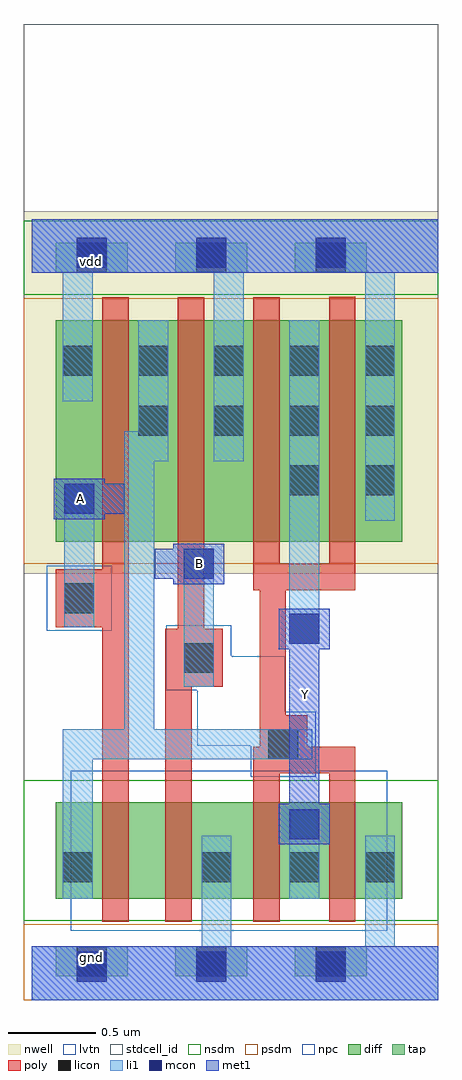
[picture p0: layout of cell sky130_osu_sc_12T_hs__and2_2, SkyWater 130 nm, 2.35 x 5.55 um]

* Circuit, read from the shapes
.subckt sky130_osu_sc_12T_hs__and2_2 A B Y gnd vdd
XM1 n1 A n2 gnd sky130_fd_pr__nfet_01v8_lvt w=0.55 l=0.15
XM2 gnd B n1 gnd sky130_fd_pr__nfet_01v8_lvt w=0.55 l=0.15
XM3 Y n2 gnd gnd sky130_fd_pr__nfet_01v8_lvt w=0.55 l=0.15 m=2
XM4 n2 A vdd vdd sky130_fd_pr__pfet_01v8 w=1.26 l=0.15
XM5 vdd B n2 vdd sky130_fd_pr__pfet_01v8 w=1.26 l=0.15
XM6 Y n2 vdd vdd sky130_fd_pr__pfet_01v8 w=1.26 l=0.15 m=2
.ends

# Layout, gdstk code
import gdstk
lib = gdstk.Library(unit=1e-6, precision=1e-09)
def R(c, l, rs):  # rectangles x0, y0, x1, y1
    for r in rs: c.add(gdstk.rectangle(r[:2], r[2:], *l))
def A(c, l, x, y, w, h, nx, ny, dx, dy):  # array of equal rectangles
    R(c, l, [(x+i*dx, y+j*dy, x+i*dx+w, y+j*dy+h) for i in range(nx) for j in range(ny)])
nwell = (64, 20)
diff = (65, 20)
tap = (65, 44)
poly = (66, 20)
licon = (66, 44)
li1 = (67, 20)
mcon = (67, 44)
met1 = (68, 20)
stdcell_id = (81, 4)
nsdm = (93, 44)
psdm = (94, 20)
npc = (95, 20)
lvtn = (125, 44)

sky130_osu_sc_12t_hs__an = lib.new_cell('sky130_osu_sc_12T_hs__and2_2')
R(sky130_osu_sc_12t_hs__an, nwell, [(-0.045,2.425,2.31,4.485)])
R(sky130_osu_sc_12t_hs__an, diff, [(0.135,0.575,2.105,1.125), (0.135,2.605,2.105,3.865)])
A(sky130_osu_sc_12t_hs__an, tap, 0.135, 0.135, 0.41, 0.17, 3, 2, 0.68, 4)
R(sky130_osu_sc_12t_hs__an, poly, [(0.4,0.445,0.55,2.12), (0.76,0.445,0.91,1.78), (1.26,0.445,1.41,1.29), (1.69,0.445,1.84,1.29), (1.26,1.29,1.84,1.44), (1.295,1.44,1.565,1.62), (1.295,1.62,1.445,2.33), (0.76,1.78,1.085,2.11), (0.83,2.11,0.98,3.995), (0.135,2.12,0.55,2.45), (1.26,2.33,1.84,2.48), (0.4,2.45,0.55,3.995), (1.26,2.48,1.41,3.995), (1.69,2.48,1.84,4)])
A(sky130_osu_sc_12t_hs__an, licon, 0.255, 0.135, 0.17, 0.17, 3, 2, 0.68, 4)
A(sky130_osu_sc_12t_hs__an, licon, 0.605, 3.21, 0.17, 0.17, 4, 1, 0.43, 0)
A(sky130_osu_sc_12t_hs__an, licon, 0.175, 3.55, 0.17, 0.17, 5, 1, 0.43, 0)
R(sky130_osu_sc_12t_hs__an, licon, [(0.175,0.67,0.345,0.84), (0.965,0.67,1.135,0.84), (1.465,0.67,1.635,0.84), (1.895,0.67,2.065,0.84), (1.345,1.37,1.515,1.54), (0.865,1.86,1.035,2.03), (0.185,2.2,0.355,2.37), (1.465,2.87,1.635,3.04), (1.895,2.87,2.065,3.04)])
R(sky130_osu_sc_12t_hs__an, li1, [(0,0,2.31,0.305), (0.965,0.305,1.135,0.935), (1.895,0.305,2.065,0.935), (0.175,0.575,0.345,1.37), (1.465,0.575,1.635,1.085), (0.175,1.37,1.595,1.54), (0.525,1.54,0.695,3.065), (0.865,1.78,1.035,2.565), (1.465,2.025,1.635,3.865), (0.185,2.12,0.355,2.935), (1.895,2.725,2.065,4.135), (0.525,3.065,0.775,3.235), (1.035,3.065,1.205,4.135), (0.605,3.235,0.775,3.865), (0.175,3.405,0.345,4.135), (0,4.135,2.31,4.44)])
A(sky130_osu_sc_12t_hs__an, mcon, 0.255, 0.105, 0.17, 0.17, 3, 2, 0.68, 4.06)
R(sky130_osu_sc_12t_hs__an, mcon, [(1.465,0.915,1.635,1.085), (1.465,2.025,1.635,2.195), (0.865,2.395,1.035,2.565), (0.185,2.765,0.355,2.935)])
R(sky130_osu_sc_12t_hs__an, met1, [(0,0,2.31,0.305), (1.405,0.885,1.695,1.115), (1.465,1.115,1.635,1.995), (1.405,1.995,1.695,2.225), (0.805,2.365,1.095,2.395), (0.7,2.395,1.095,2.565), (0.805,2.565,1.095,2.595), (0.125,2.735,0.415,2.765), (0.125,2.765,0.525,2.935), (0.125,2.935,0.415,2.965), (0,4.135,2.31,4.44)])
R(sky130_osu_sc_12t_hs__an, stdcell_id, [(-0.045,0,2.31,5.55)])
R(sky130_osu_sc_12t_hs__an, nsdm, [(-0.045,0.45,2.31,1.25), (-0.045,4.01,2.31,4.43)])
R(sky130_osu_sc_12t_hs__an, psdm, [(-0.045,0,2.31,0.43), (-0.045,2.48,2.31,3.99)])
R(sky130_osu_sc_12t_hs__an, npc, [(1.245,1.27,1.615,1.445), (0.94,1.445,1.615,1.64), (0.94,1.64,1.44,1.76), (0.765,1.76,1.44,1.955), (0.765,1.955,1.135,2.13), (0.085,2.1,0.455,2.47)])
R(sky130_osu_sc_12t_hs__an, lvtn, [(0.22,0.395,2.02,1.305)])
sky130_osu_sc_12t_hs__an.add(gdstk.Label('gnd', (0.34,0.24), layer=68, texttype=16))
sky130_osu_sc_12t_hs__an.add(gdstk.Label('vdd', (0.34,4.2), layer=68, texttype=16))
sky130_osu_sc_12t_hs__an.add(gdstk.Label('B', (0.955,2.48), layer=68, texttype=5))
sky130_osu_sc_12t_hs__an.add(gdstk.Label('A', (0.275,2.85), layer=68, texttype=5))
sky130_osu_sc_12t_hs__an.add(gdstk.Label('Y', (1.555,1.74), layer=68, texttype=5))

lib.write_gds('sky130_osu_sc_12T_hs__and2_2.gds')
